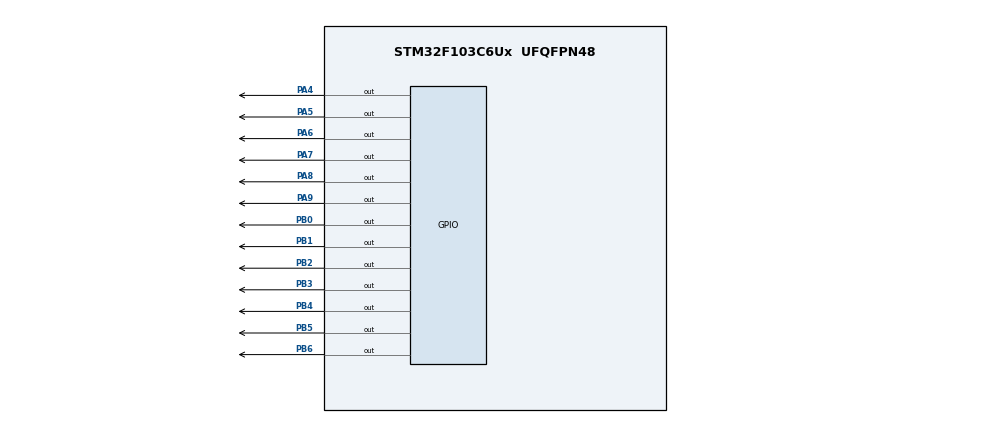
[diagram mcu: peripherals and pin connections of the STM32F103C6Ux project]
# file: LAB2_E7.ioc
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Mcu.Family=STM32F1
Mcu.Name=STM32F103C6Ux
Mcu.Package=UFQFPN48
NVIC.PriorityGroup=NVIC_PRIORITYGROUP_4
NVIC.TIM2_IRQn=true\:0\:0\:false\:false\:true\:true\:true
PA4.Signal=GPIO_Output
PA5.Signal=GPIO_Output
PA6.Signal=GPIO_Output
PA7.Signal=GPIO_Output
PA8.Signal=GPIO_Output
PA9.Signal=GPIO_Output
PB0.Signal=GPIO_Output
PB1.Signal=GPIO_Output
PB2.Signal=GPIO_Output
PB3.Signal=GPIO_Output
PB4.Signal=GPIO_Output
PB5.Signal=GPIO_Output
PB6.Signal=GPIO_Output
ProjectManager.HeapSize=0x200
ProjectManager.StackSize=0x400
ProjectManager.TargetToolchain=STM32CubeIDE
RCC.APB1Freq_Value=8000000
RCC.APB2Freq_Value=8000000
TIM2.Period=9
TIM2.Prescaler=7999
VP_SYS_VS_ND.Mode=No_Debug
VP_TIM2_VS_ClockSourceINT.Mode=Internal
board=custom

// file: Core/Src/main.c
/* USER CODE BEGIN Header */
/**
  ******************************************************************************
  * @file           : main.c
  * @brief          : Main program body
  ******************************************************************************
  * @attention
  *
  * <h2><center>&copy; Copyright (c) 2025 STMicroelectronics.
  * All rights reserved.</center></h2>
  *
  * This software component is licensed by ST under BSD 3-Clause license,
  * the "License"; You may not use this file except in compliance with the
  * License. You may obtain a copy of the License at:
  *                        opensource.org/licenses/BSD-3-Clause
  *
  ******************************************************************************
  */
/* USER CODE END Header */
#include "main.h"

TIM_HandleTypeDef htim2;

void SystemClock_Config(void);
static void MX_GPIO_Init(void);
static void MX_TIM2_Init(void);

/* USER CODE BEGIN 0 */
int timer0_counter = 0;
int timer0_flag = 0;
int TIMER_CYCLE = 10;

void setTimer0(int duration) {
    timer0_counter = duration / TIMER_CYCLE;
    timer0_flag = 0;
}

void timer_run() {
    if (timer0_counter > 0) {
        timer0_counter--;
        if (timer0_counter == 0)
            timer0_flag = 1;
    }
}

/* USER CODE END 0 */

uint8_t table[10] = {
    0b1000000, // 0
    0b1111001, // 1
    0b0100100, // 2
    0b0110000, // 3
    0b0011001, // 4
    0b0010010, // 5
    0b0000010, // 6
    0b1111000, // 7
    0b0000000, // 8
    0b0010000 // 9
};

void display7SEG(int num){
	uint8_t n= table[num];
	GPIOB->ODR= (GPIOB->ODR & 0xFFFFFF80)|n;
}

const int MAX_LED = 4;
int index_led = 0;
int led_buffer [4] = {1,2,3,4};
int flag=0;

void update7SEG ( int index ){
switch ( index ){
 case 0:
	 HAL_GPIO_WritePin(GPIOA, GPIO_PIN_6, RESET);
	 HAL_GPIO_WritePin(GPIOA, GPIO_PIN_7, SET);
	 HAL_GPIO_WritePin(GPIOA, GPIO_PIN_8, SET);
	 HAL_GPIO_WritePin(GPIOA, GPIO_PIN_9, SET);
	 display7SEG(led_buffer[index]);
 break ;

 case 1:
	 HAL_GPIO_WritePin(GPIOA, GPIO_PIN_6, SET);
	 HAL_GPIO_WritePin(GPIOA, GPIO_PIN_7, RESET);
	 HAL_GPIO_WritePin(GPIOA, GPIO_PIN_8, SET);
	 HAL_GPIO_WritePin(GPIOA, GPIO_PIN_9, SET);
	 display7SEG(led_buffer[index]);
// Display the second 7 SEG with led_buffer [1]
 break ;

 case 2:
	 HAL_GPIO_WritePin(GPIOA, GPIO_PIN_6, SET);
	 HAL_GPIO_WritePin(GPIOA, GPIO_PIN_7, SET);
	 HAL_GPIO_WritePin(GPIOA, GPIO_PIN_8, RESET);
	 HAL_GPIO_WritePin(GPIOA, GPIO_PIN_9, SET);
	 display7SEG(led_buffer[index]);
 // Display the third 7 SEG with led_buffer [2]
 break ;

 case 3:
	 HAL_GPIO_WritePin(GPIOA, GPIO_PIN_6, SET);
	 HAL_GPIO_WritePin(GPIOA, GPIO_PIN_7, SET);
	 HAL_GPIO_WritePin(GPIOA, GPIO_PIN_8, SET);
	 HAL_GPIO_WritePin(GPIOA, GPIO_PIN_9, RESET);
	 display7SEG(led_buffer[index]);
 // Display the forth 7 SEG with led_buffer [3]
 break ;

 default :
 break ;
 }
}
int hour = 15, minute = 8, second = 50;

  void updateClockBuffer(){
  int led1=0, led2=0, led3=0, led4=0;
  led1=hour/10;
  led2=hour%10;
  led3=minute/10;
  led4=minute%10;

  led_buffer[0]= led1;
  led_buffer[1]= led2;
  led_buffer[2]= led3;
  led_buffer[3]= led4;
  }

int main(void)
{

  /* MCU Configuration--------------------------------------------------------*/

  /* Reset of all peripherals, Initializes the Flash interface and the Systick. */
  HAL_Init();

  /* Configure the system clock */
  SystemClock_Config();

  /* Initialize all configured peripherals */
  MX_GPIO_Init();
  MX_TIM2_Init();
  /* USER CODE BEGIN 2 */
  HAL_TIM_Base_Start_IT(&htim2);
  /* USER CODE END 2 */

  /* Infinite loop */
  /* USER CODE BEGIN WHILE */

  setTimer0(500);
  while (1)
  {
    /* USER CODE END WHILE */
	  update7SEG(index_led);
  }
}

void SystemClock_Config(void)
{
  RCC_OscInitTypeDef RCC_OscInitStruct = {0};
  RCC_ClkInitTypeDef RCC_ClkInitStruct = {0};

  /** Initializes the RCC Oscillators according to the specified parameters
  * in the RCC_OscInitTypeDef structure.
  */
  RCC_OscInitStruct.OscillatorType = RCC_OSCILLATORTYPE_HSI;
  RCC_OscInitStruct.HSIState = RCC_HSI_ON;
  RCC_OscInitStruct.HSICalibrationValue = RCC_HSICALIBRATION_DEFAULT;
  RCC_OscInitStruct.PLL.PLLState = RCC_PLL_NONE;
  if (HAL_RCC_OscConfig(&RCC_OscInitStruct) != HAL_OK)
  {
    Error_Handler();
  }
  /** Initializes the CPU, AHB and APB buses clocks
  */
  RCC_ClkInitStruct.ClockType = RCC_CLOCKTYPE_HCLK|RCC_CLOCKTYPE_SYSCLK
                              |RCC_CLOCKTYPE_PCLK1|RCC_CLOCKTYPE_PCLK2;
  RCC_ClkInitStruct.SYSCLKSource = RCC_SYSCLKSOURCE_HSI;
  RCC_ClkInitStruct.AHBCLKDivider = RCC_SYSCLK_DIV1;
  RCC_ClkInitStruct.APB1CLKDivider = RCC_HCLK_DIV1;
  RCC_ClkInitStruct.APB2CLKDivider = RCC_HCLK_DIV1;

  if (HAL_RCC_ClockConfig(&RCC_ClkInitStruct, FLASH_LATENCY_0) != HAL_OK)
  {
    Error_Handler();
  }
}

static void MX_TIM2_Init(void)
{

  TIM_ClockConfigTypeDef sClockSourceConfig = {0};
  TIM_MasterConfigTypeDef sMasterConfig = {0};

  htim2.Instance = TIM2;
  htim2.Init.Prescaler = 7999;
  htim2.Init.CounterMode = TIM_COUNTERMODE_UP;
  htim2.Init.Period = 9;
  htim2.Init.ClockDivision = TIM_CLOCKDIVISION_DIV1;
  htim2.Init.AutoReloadPreload = TIM_AUTORELOAD_PRELOAD_DISABLE;
  if (HAL_TIM_Base_Init(&htim2) != HAL_OK)
  {
    Error_Handler();
  }
  sClockSourceConfig.ClockSource = TIM_CLOCKSOURCE_INTERNAL;
  if (HAL_TIM_ConfigClockSource(&htim2, &sClockSourceConfig) != HAL_OK)
  {
    Error_Handler();
  }
  sMasterConfig.MasterOutputTrigger = TIM_TRGO_RESET;
  sMasterConfig.MasterSlaveMode = TIM_MASTERSLAVEMODE_DISABLE;
  if (HAL_TIMEx_MasterConfigSynchronization(&htim2, &sMasterConfig) != HAL_OK)
  {
    Error_Handler();
  }

}

static void MX_GPIO_Init(void)
{
  GPIO_InitTypeDef GPIO_InitStruct = {0};

  /* GPIO Ports Clock Enable */
  __HAL_RCC_GPIOA_CLK_ENABLE();
  __HAL_RCC_GPIOB_CLK_ENABLE();

  /*Configure GPIO pin Output Level */
  HAL_GPIO_WritePin(GPIOA, GPIO_PIN_4|GPIO_PIN_5|GPIO_PIN_6|GPIO_PIN_7
                          |GPIO_PIN_8|GPIO_PIN_9, GPIO_PIN_RESET);

  /*Configure GPIO pin Output Level */
  HAL_GPIO_WritePin(GPIOB, GPIO_PIN_0|GPIO_PIN_1|GPIO_PIN_2|GPIO_PIN_3
                          |GPIO_PIN_4|GPIO_PIN_5|GPIO_PIN_6, GPIO_PIN_RESET);

  /*Configure GPIO pins : PA4 PA5 PA6 PA7
                           PA8 PA9 */
  GPIO_InitStruct.Pin = GPIO_PIN_4|GPIO_PIN_5|GPIO_PIN_6|GPIO_PIN_7
                          |GPIO_PIN_8|GPIO_PIN_9;
  GPIO_InitStruct.Mode = GPIO_MODE_OUTPUT_PP;
  GPIO_InitStruct.Pull = GPIO_NOPULL;
  GPIO_InitStruct.Speed = GPIO_SPEED_FREQ_LOW;
  HAL_GPIO_Init(GPIOA, &GPIO_InitStruct);

  /*Configure GPIO pins : PB0 PB1 PB2 PB3
                           PB4 PB5 PB6 */
  GPIO_InitStruct.Pin = GPIO_PIN_0|GPIO_PIN_1|GPIO_PIN_2|GPIO_PIN_3
                          |GPIO_PIN_4|GPIO_PIN_5|GPIO_PIN_6;
  GPIO_InitStruct.Mode = GPIO_MODE_OUTPUT_PP;
  GPIO_InitStruct.Pull = GPIO_NOPULL;
  GPIO_InitStruct.Speed = GPIO_SPEED_FREQ_LOW;
  HAL_GPIO_Init(GPIOB, &GPIO_InitStruct);

}

/* USER CODE BEGIN 4 */
void HAL_TIM_PeriodElapsedCallback(TIM_HandleTypeDef *htim){
	timer_run();
	if(timer0_flag){
		second++;
		setTimer0(500);
		HAL_GPIO_TogglePin(GPIOA, GPIO_PIN_4);
		HAL_GPIO_TogglePin(GPIOA, GPIO_PIN_5);
		if(index_led<3){
		    	index_led++;
		    }
		 else index_led=0;
	}

    if (second >= 60) {
		second = 0;
		minute++;
    }
	if (minute >= 60) {
		minute = 0;
		hour++;
    }
    if (hour >= 24) {
		hour = 0;
    }

    updateClockBuffer();
}
/* USER CODE END 4 */

void Error_Handler(void)
{
  __disable_irq();
  while (1)
  {
  }
}

/************************ (C) COPYRIGHT STMicroelectronics *****END OF FILE****/
